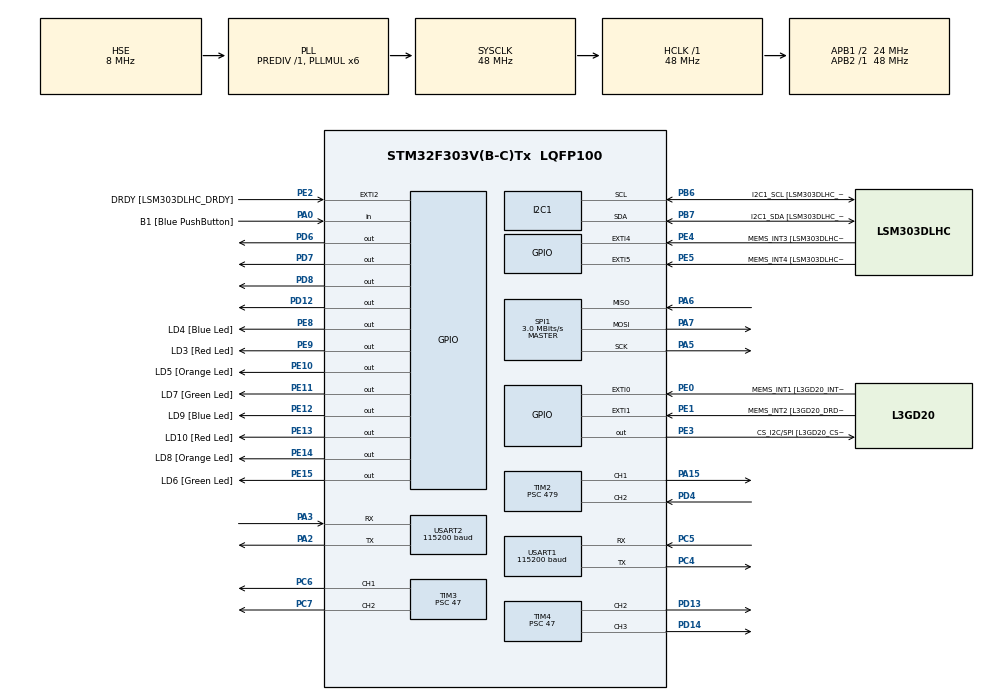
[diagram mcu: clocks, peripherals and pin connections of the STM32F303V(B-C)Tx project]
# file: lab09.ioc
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I2C1.Timing=0x00201D2B
I2C1.Timing-I2C=0x2000090E
Mcu.Family=STM32F3
Mcu.Name=STM32F303V(B-C)Tx
Mcu.Package=LQFP100
NVIC.PriorityGroup=NVIC_PRIORITYGROUP_0
NVIC.TIM2_IRQn=true\:0\:0\:false\:false\:true\:true\:true\:true
NVIC.TIM3_IRQn=true\:0\:0\:false\:false\:true\:true\:true\:true
NVIC.TIM4_IRQn=true\:0\:0\:false\:false\:true\:true\:true\:true
PA0.GPIO_Label=B1 [Blue PushButton]
PA0.Signal=GPIO_Input
PA11.GPIO_Label=DM
PA11.Signal=USB_DM
PA13.GPIO_Label=SWDIO
PA13.Mode=Serial_Wire
PA13.Signal=SYS_JTMS-SWDIO
PA14.GPIO_Label=SWCLK
PA14.Mode=Serial_Wire
PA14.Signal=SYS_JTCK-SWCLK
PA15.GPIO_PuPd=GPIO_NOPULL
PA15.Signal=S_TIM2_CH1_ETR
PA2.Mode=Asynchronous
PA2.Signal=USART2_TX
PA3.Mode=Asynchronous
PA3.Signal=USART2_RX
PA4.Signal=SPI1_NSS
PA5.Mode=Full_Duplex_Master
PA5.Signal=SPI1_SCK
PA6.Mode=Full_Duplex_Master
PA6.Signal=SPI1_MISO
PA7.Mode=Full_Duplex_Master
PA7.Signal=SPI1_MOSI
PB6.GPIO_Label=I2C1_SCL [LSM303DLHC_SCL]
PB6.GPIO_Pu=GPIO_PULLUP
PB6.Mode=I2C
PB6.Signal=I2C1_SCL
PB7.GPIO_Label=I2C1_SDA [LSM303DLHC_SDA]
PB7.GPIO_Pu=GPIO_PULLUP
PB7.Mode=I2C
PB7.Signal=I2C1_SDA
PC14-OSC32_IN.GPIO_Label=OSC32_IN
PC14-OSC32_IN.Signal=RCC_OSC32_IN
PC15-OSC32_OUT.GPIO_Label=OSC32_OUT
PC15-OSC32_OUT.Signal=RCC_OSC32_OUT
PC4.Mode=Asynchronous
PC4.Signal=USART1_TX
PC5.Mode=Asynchronous
PC5.Signal=USART1_RX
PC6.Signal=S_TIM3_CH1
PC7.Signal=S_TIM3_CH2
PD12.Signal=GPIO_Output
PD13.Signal=S_TIM4_CH2
PD14.Signal=S_TIM4_CH3
PD4.GPIO_PuPd=GPIO_PULLUP
PD4.Signal=S_TIM2_CH2
PD6.Signal=GPIO_Output
PD7.Signal=GPIO_Output
PD8.Signal=GPIO_Output
PE0.GPIO_Label=MEMS_INT1 [L3GD20_INT1]
PE0.GPIO_ModeDefaultEXTI=GPIO_MODE_EVT_RISING
PE0.Signal=GPXTI0
PE1.GPIO_Label=MEMS_INT2 [L3GD20_DRDY/INT2]
PE1.GPIO_ModeDefaultEXTI=GPIO_MODE_EVT_RISING
PE1.Signal=GPXTI1
PE10.GPIO_Label=LD5 [Orange Led]
PE10.Signal=GPIO_Output
PE11.GPIO_Label=LD7 [Green Led]
PE11.Signal=GPIO_Output
PE12.GPIO_Label=LD9 [Blue Led]
PE12.Signal=GPIO_Output
PE13.GPIO_Label=LD10 [Red Led]
PE13.Signal=GPIO_Output
PE14.GPIO_Label=LD8 [Orange Led]
PE14.Signal=GPIO_Output
PE15.GPIO_Label=LD6 [Green Led]
PE15.Signal=GPIO_Output
PE2.GPIO_Label=DRDY [LSM303DLHC_DRDY]
PE2.GPIO_ModeDefaultEXTI=GPIO_MODE_EVT_RISING
PE2.Signal=GPXTI2
PE3.GPIO_Label=CS_I2C/SPI [L3GD20_CS_I2C/SPI]
PE3.Signal=GPIO_Output
PE4.GPIO_Label=MEMS_INT3 [LSM303DLHC_INT1]
PE4.GPIO_ModeDefaultEXTI=GPIO_MODE_EVT_RISING
PE4.Signal=GPXTI4
PE5.GPIO_Label=MEMS_INT4 [LSM303DLHC_INT2]
PE5.GPIO_ModeDefaultEXTI=GPIO_MODE_EVT_RISING
PE5.Signal=GPXTI5
PE8.GPIO_Label=LD4 [Blue Led]
PE8.Signal=GPIO_Output
PE9.GPIO_Label=LD3 [Red Led]
PE9.Signal=GPIO_Output
PF0-OSC_IN.GPIO_Label=OSC_IN
PF0-OSC_IN.Mode=HSE-External-Clock-Source
PF0-OSC_IN.Signal=RCC_OSC_IN
PF1-OSC_OUT.GPIO_Label=OSC_OUT
PF1-OSC_OUT.Signal=RCC_OSC_OUT
ProjectManager.HeapSize=0x200
ProjectManager.StackSize=0x400
ProjectManager.TargetToolchain=CMake
RCC.AHBFreq_Value=48000000
RCC.APB1CLKDivider=RCC_HCLK_DIV2
RCC.APB1Freq_Value=24000000
RCC.APB1TimFreq_Value=48000000
RCC.APB2Freq_Value=48000000
RCC.APB2TimFreq_Value=48000000
RCC.CortexFreq_Value=48000000
RCC.HCLKFreq_Value=48000000
RCC.HSE_VALUE=8000000
RCC.HSI_VALUE=8000000
RCC.LSE_VALUE=32768
RCC.PLLMUL=RCC_PLL_MUL6
RCC.PLLSourceVirtual=RCC_PLLSOURCE_HSE
RCC.SYSCLKFreq_VALUE=48000000
RCC.SYSCLKSourceVirtual=RCC_SYSCLKSOURCE_PLLCLK
RCC.USBFreq_Value=48000000
SH.S_TIM2_CH1_ETR.0=TIM2_CH1,PWM Generation1 CH1
SH.S_TIM2_CH2.0=TIM2_CH2,Input_Capture2_from_TI2
SH.S_TIM3_CH1.0=TIM3_CH1,PWM Generation1 CH1
SH.S_TIM3_CH2.0=TIM3_CH2,PWM Generation2 CH2
SH.S_TIM4_CH2.0=TIM4_CH2,PWM Generation2 CH2
SH.S_TIM4_CH3.0=TIM4_CH3,PWM Generation3 CH3
SPI1.BaudRatePrescaler=SPI_BAUDRATEPRESCALER_16
SPI1.CLKPhase=SPI_PHASE_2EDGE
SPI1.CLKPolarity=SPI_POLARITY_HIGH
SPI1.CalculateBaudRate=3.0 MBits/s
SPI1.DataSize=SPI_DATASIZE_8BIT
SPI1.Direction=SPI_DIRECTION_2LINES
SPI1.Mode=SPI_MODE_MASTER
SPI1.VirtualType=VM_MASTER
TIM2.Channel-Input_Capture2_from_TI2=TIM_CHANNEL_2
TIM2.Channel-PWM\ Generation1\ CH1=TIM_CHANNEL_1
TIM2.Period=999
TIM2.Prescaler=479
TIM2.Pulse-PWM\ Generation1\ CH1=0
TIM3.Channel-PWM\ Generation1\ CH1=TIM_CHANNEL_1
TIM3.Channel-PWM\ Generation2\ CH2=TIM_CHANNEL_2
TIM3.Period=999
TIM3.Prescaler=47
TIM4.Channel-PWM\ Generation2\ CH2=TIM_CHANNEL_2
TIM4.Channel-PWM\ Generation3\ CH3=TIM_CHANNEL_3
TIM4.Period=9999
TIM4.Prescaler=47
TIM4.Pulse-PWM\ Generation2\ CH2=500
USART1.BaudRate=115200
USART1.VirtualMode-Asynchronous=VM_ASYNC
USART2.BaudRate=115200
USART2.VirtualMode-Asynchronous=VM_ASYNC
VP_TIM2_VS_ClockSourceINT.Mode=Internal
VP_TIM3_VS_ClockSourceINT.Mode=Internal
VP_TIM4_VS_ClockSourceINT.Mode=Internal
VP_TIM8_VS_ClockSourceINT.Mode=Internal
board=STM32F3DISCOVERY

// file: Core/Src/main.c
/* USER CODE BEGIN Header */
/**
  ******************************************************************************
  * @file           : main.c
  * @brief          : Main program body
  ******************************************************************************
  * @attention
  *
  * Copyright (c) 2026 STMicroelectronics.
  * All rights reserved.
  *
  * This software is licensed under terms that can be found in the LICENSE file
  * in the root directory of this software component.
  * If no LICENSE file comes with this software, it is provided AS-IS.
  *
  ******************************************************************************
  */
/* USER CODE END Header */
#include "main.h"

/* USER CODE BEGIN Includes */

#include "motor.h"
#include "stm32f3xx_hal_i2c.h"
#include "stm32f3xx_hal_tim.h"
#include "stm32f3xx_hal_uart.h"
#include <stdint.h>
#include <sys/types.h>
#include "stdarg.h"
#include "stdio.h"
#include "stm32f3xx_hal.h"
#include "stm32f3xx_hal_spi.h"
#include "string.h"
#include "math.h"
#include <stdint.h>
/* USER CODE END Includes */

I2C_HandleTypeDef hi2c1;

SPI_HandleTypeDef hspi1;

TIM_HandleTypeDef htim2;
TIM_HandleTypeDef htim3;
TIM_HandleTypeDef htim4;
TIM_HandleTypeDef htim8;

UART_HandleTypeDef huart1;
UART_HandleTypeDef huart2;

void SystemClock_Config(void);
static void MX_GPIO_Init(void);
static void MX_I2C1_Init(void);
static void MX_USART1_UART_Init(void);
static void MX_USART2_UART_Init(void);
static void MX_TIM2_Init(void);
static void MX_TIM3_Init(void);
static void MX_TIM4_Init(void);
static void MX_SPI1_Init(void);
static void MX_TIM8_Init(void);

/* USER CODE BEGIN 0 */

#include "angle.c"
#include "pid.c"
#include "motor.c"
void myPrintf(const char *fmt, ...);
 // Initialize and tune PID controller
  float dt = 0.01f;  // 10ms loop delay
  float setpoint = 0.3f;
  float tilt_x = 0.0f;

LSM_Data_t lsm = {0};  // zero-initialize all fields
PIDController pid;
//

/* USER CODE END 0 */

int main(void)
{

  /* MCU Configuration--------------------------------------------------------*/

  /* Reset of all peripherals, Initializes the Flash interface and the Systick. */
  HAL_Init();

  /* Configure the system clock */
  SystemClock_Config();

  /* Initialize all configured peripherals */
  MX_GPIO_Init();
  MX_I2C1_Init();
  MX_USART1_UART_Init();
  MX_USART2_UART_Init();
  MX_TIM2_Init();
  MX_TIM3_Init();
  MX_TIM4_Init();
  MX_SPI1_Init();
  MX_TIM8_Init();
  /* USER CODE BEGIN 2 */
  // Initialize sensors
  // HAL_TIM_PWM_Start(&htim4, TIM_CHANNEL_2);
  // HAL_TIM_PWM_Start(&htim4, TIM_CHANNEL_3);
  HAL_TIM_PWM_Start(&htim2, TIM_CHANNEL_1);

  Init_LSM();
  gyro_init();
  gyro_set_ctrl_reg4();

  // Calibrate sensors (robot must be stationary and upright)
  Offset_LSM(&lsm);
  gyro_calibrate(&lsm);

  // Start PWM channels for motors
  HAL_TIM_PWM_Start(&htim3, TIM_CHANNEL_1);
  HAL_TIM_PWM_Start(&htim3, TIM_CHANNEL_2);

  PIDController_Init(&pid);
  pid.kp = 75.0f;
  pid.ki = 0.002f;
  pid.kd = 4.0f;
  pid.sampling_time = dt;
  // HAL_NVIC_SetPriority(SysTick_IRQn, 0, 0);   // highest priority
  // HAL_NVIC_SetPriority(TIM4_IRQn, 1, 0);       // lower than SysTick
  // HAL_NVIC_SetPriority(USART2_IRQn, 2, 0);     // lowest - just debugging

  HAL_TIM_Base_Start_IT(&htim4);

  /* USER CODE END 2 */

  /* Infinite loop */
  /* USER CODE BEGIN WHILE */
  while (1)
  {
    // tilt_x = tilt_angle(dt, tilt_x, &lsm);
    // myPrintf("tilt angle: %f\r\n", tilt_x);
    // HAL_Delay(100);
    //HAL_UART_Transmit(&huart2, (const uint8_t *)"hello", 5, HAL_MAX_DELAY);
    // LeftMotor_Forward(999);
    // RightMotor_Forward(999);
    /* USER CODE END WHILE */

  }
}

/* USER CODE BEGIN 4 */
void myPrintf(const char *fmt, ...)
{
  char buffer[128];
  va_list argument;
  va_start(argument, fmt);
  vsnprintf(buffer, sizeof(buffer), fmt, argument);
  HAL_UART_Transmit(&huart2, (uint8_t*)buffer, strlen(buffer), 100);
}

void HAL_TIM_PeriodElapsedCallback(TIM_HandleTypeDef *htim)
{
    if (htim->Instance == TIM4)
    {
        tilt_x = tilt_angle(dt, tilt_x, &lsm);
        // Fall detection
        if (tilt_x > 15.0f || tilt_x < -15.0f)
        {
            LeftMotor_Stop();
            RightMotor_Stop();
            return;
        }

        PIDController_Update(&pid, setpoint, tilt_x);

        int speed = (int)pid.motor_output;
        float abs_error = fabsf(setpoint - tilt_x);

        if (speed >  999) speed =  999;
        if (speed < -999) speed = -999;

        // Stop dithering close to balance point.
        if (abs_error < 0.5f)
        {
          LeftMotor_Stop();
          RightMotor_Stop();
          return;
        }

        // Overcome motor static friction for faster initial response.
        if (speed > 0 && speed < 80) speed = 80;
        if (speed < 0 && speed > -80) speed = -80;

        // // Tight dead zone — only ignore if < 0.5° off setpoint
        // if (speed > -100 && speed < 100)
        // {
        //     LeftMotor_Stop();
        //     RightMotor_Stop();
        //     return;
        // }

        if (speed > 0)
        {
          LeftMotor_Forward((uint16_t)speed);
          RightMotor_Forward((uint16_t)speed);
        }
        else
        {
          speed = -speed;
          LeftMotor_Backward((uint16_t)speed);
          RightMotor_Backward((uint16_t)speed);
        }

        HAL_GPIO_TogglePin(GPIOC, GPIO_PIN_8);
    }
}
/* USER CODE END 4 */

void SystemClock_Config(void)
{
  RCC_OscInitTypeDef RCC_OscInitStruct = {0};
  RCC_ClkInitTypeDef RCC_ClkInitStruct = {0};
  RCC_PeriphCLKInitTypeDef PeriphClkInit = {0};

  /** Initializes the RCC Oscillators according to the specified parameters
  * in the RCC_OscInitTypeDef structure.
  */
  RCC_OscInitStruct.OscillatorType = RCC_OSCILLATORTYPE_HSI|RCC_OSCILLATORTYPE_HSE;
  RCC_OscInitStruct.HSEState = RCC_HSE_BYPASS;
  RCC_OscInitStruct.HSEPredivValue = RCC_HSE_PREDIV_DIV1;
  RCC_OscInitStruct.HSIState = RCC_HSI_ON;
  RCC_OscInitStruct.HSICalibrationValue = RCC_HSICALIBRATION_DEFAULT;
  RCC_OscInitStruct.PLL.PLLState = RCC_PLL_ON;
  RCC_OscInitStruct.PLL.PLLSource = RCC_PLLSOURCE_HSE;
  RCC_OscInitStruct.PLL.PLLMUL = RCC_PLL_MUL6;
  if (HAL_RCC_OscConfig(&RCC_OscInitStruct) != HAL_OK)
  {
    Error_Handler();
  }

  /** Initializes the CPU, AHB and APB buses clocks
  */
  RCC_ClkInitStruct.ClockType = RCC_CLOCKTYPE_HCLK|RCC_CLOCKTYPE_SYSCLK
                              |RCC_CLOCKTYPE_PCLK1|RCC_CLOCKTYPE_PCLK2;
  RCC_ClkInitStruct.SYSCLKSource = RCC_SYSCLKSOURCE_PLLCLK;
  RCC_ClkInitStruct.AHBCLKDivider = RCC_SYSCLK_DIV1;
  RCC_ClkInitStruct.APB1CLKDivider = RCC_HCLK_DIV2;
  RCC_ClkInitStruct.APB2CLKDivider = RCC_HCLK_DIV1;

  if (HAL_RCC_ClockConfig(&RCC_ClkInitStruct, FLASH_LATENCY_1) != HAL_OK)
  {
    Error_Handler();
  }
  PeriphClkInit.PeriphClockSelection = RCC_PERIPHCLK_USART1|RCC_PERIPHCLK_USART2
                              |RCC_PERIPHCLK_I2C1|RCC_PERIPHCLK_TIM8;
  PeriphClkInit.Usart1ClockSelection = RCC_USART1CLKSOURCE_PCLK2;
  PeriphClkInit.Usart2ClockSelection = RCC_USART2CLKSOURCE_PCLK1;
  PeriphClkInit.I2c1ClockSelection = RCC_I2C1CLKSOURCE_HSI;
  PeriphClkInit.Tim8ClockSelection = RCC_TIM8CLK_HCLK;
  if (HAL_RCCEx_PeriphCLKConfig(&PeriphClkInit) != HAL_OK)
  {
    Error_Handler();
  }
}

static void MX_I2C1_Init(void)
{

  hi2c1.Instance = I2C1;
  hi2c1.Init.Timing = 0x00201D2B;
  hi2c1.Init.OwnAddress1 = 0;
  hi2c1.Init.AddressingMode = I2C_ADDRESSINGMODE_7BIT;
  hi2c1.Init.DualAddressMode = I2C_DUALADDRESS_DISABLE;
  hi2c1.Init.OwnAddress2 = 0;
  hi2c1.Init.OwnAddress2Masks = I2C_OA2_NOMASK;
  hi2c1.Init.GeneralCallMode = I2C_GENERALCALL_DISABLE;
  hi2c1.Init.NoStretchMode = I2C_NOSTRETCH_DISABLE;
  if (HAL_I2C_Init(&hi2c1) != HAL_OK)
  {
    Error_Handler();
  }

  /** Configure Analogue filter
  */
  if (HAL_I2CEx_ConfigAnalogFilter(&hi2c1, I2C_ANALOGFILTER_ENABLE) != HAL_OK)
  {
    Error_Handler();
  }

  /** Configure Digital filter
  */
  if (HAL_I2CEx_ConfigDigitalFilter(&hi2c1, 0) != HAL_OK)
  {
    Error_Handler();
  }

}

static void MX_SPI1_Init(void)
{

  /* SPI1 parameter configuration*/
  hspi1.Instance = SPI1;
  hspi1.Init.Mode = SPI_MODE_MASTER;
  hspi1.Init.Direction = SPI_DIRECTION_2LINES;
  hspi1.Init.DataSize = SPI_DATASIZE_8BIT;
  hspi1.Init.CLKPolarity = SPI_POLARITY_HIGH;
  hspi1.Init.CLKPhase = SPI_PHASE_2EDGE;
  hspi1.Init.NSS = SPI_NSS_SOFT;
  hspi1.Init.BaudRatePrescaler = SPI_BAUDRATEPRESCALER_16;
  hspi1.Init.FirstBit = SPI_FIRSTBIT_MSB;
  hspi1.Init.TIMode = SPI_TIMODE_DISABLE;
  hspi1.Init.CRCCalculation = SPI_CRCCALCULATION_DISABLE;
  hspi1.Init.CRCPolynomial = 7;
  hspi1.Init.CRCLength = SPI_CRC_LENGTH_DATASIZE;
  hspi1.Init.NSSPMode = SPI_NSS_PULSE_DISABLE;
  if (HAL_SPI_Init(&hspi1) != HAL_OK)
  {
    Error_Handler();
  }

}

static void MX_TIM2_Init(void)
{

  TIM_ClockConfigTypeDef sClockSourceConfig = {0};
  TIM_MasterConfigTypeDef sMasterConfig = {0};
  TIM_OC_InitTypeDef sConfigOC = {0};
  TIM_IC_InitTypeDef sConfigIC = {0};

  htim2.Instance = TIM2;
  htim2.Init.Prescaler = 479;
  htim2.Init.CounterMode = TIM_COUNTERMODE_UP;
  htim2.Init.Period = 999;
  htim2.Init.ClockDivision = TIM_CLOCKDIVISION_DIV1;
  htim2.Init.AutoReloadPreload = TIM_AUTORELOAD_PRELOAD_DISABLE;
  if (HAL_TIM_Base_Init(&htim2) != HAL_OK)
  {
    Error_Handler();
  }
  sClockSourceConfig.ClockSource = TIM_CLOCKSOURCE_INTERNAL;
  if (HAL_TIM_ConfigClockSource(&htim2, &sClockSourceConfig) != HAL_OK)
  {
    Error_Handler();
  }
  if (HAL_TIM_PWM_Init(&htim2) != HAL_OK)
  {
    Error_Handler();
  }
  if (HAL_TIM_IC_Init(&htim2) != HAL_OK)
  {
    Error_Handler();
  }
  sMasterConfig.MasterOutputTrigger = TIM_TRGO_RESET;
  sMasterConfig.MasterSlaveMode = TIM_MASTERSLAVEMODE_DISABLE;
  if (HAL_TIMEx_MasterConfigSynchronization(&htim2, &sMasterConfig) != HAL_OK)
  {
    Error_Handler();
  }
  sConfigOC.OCMode = TIM_OCMODE_PWM1;
  sConfigOC.Pulse = 0;
  sConfigOC.OCPolarity = TIM_OCPOLARITY_HIGH;
  sConfigOC.OCFastMode = TIM_OCFAST_DISABLE;
  if (HAL_TIM_PWM_ConfigChannel(&htim2, &sConfigOC, TIM_CHANNEL_1) != HAL_OK)
  {
    Error_Handler();
  }
  sConfigIC.ICPolarity = TIM_INPUTCHANNELPOLARITY_RISING;
  sConfigIC.ICSelection = TIM_ICSELECTION_DIRECTTI;
  sConfigIC.ICPrescaler = TIM_ICPSC_DIV1;
  sConfigIC.ICFilter = 0;
  if (HAL_TIM_IC_ConfigChannel(&htim2, &sConfigIC, TIM_CHANNEL_2) != HAL_OK)
  {
    Error_Handler();
  }
  HAL_TIM_MspPostInit(&htim2);

}

static void MX_TIM3_Init(void)
{

  TIM_ClockConfigTypeDef sClockSourceConfig = {0};
  TIM_MasterConfigTypeDef sMasterConfig = {0};
  TIM_OC_InitTypeDef sConfigOC = {0};

  htim3.Instance = TIM3;
  htim3.Init.Prescaler = 47;
  htim3.Init.CounterMode = TIM_COUNTERMODE_UP;
  htim3.Init.Period = 999;
  htim3.Init.ClockDivision = TIM_CLOCKDIVISION_DIV1;
  htim3.Init.AutoReloadPreload = TIM_AUTORELOAD_PRELOAD_DISABLE;
  if (HAL_TIM_Base_Init(&htim3) != HAL_OK)
  {
    Error_Handler();
  }
  sClockSourceConfig.ClockSource = TIM_CLOCKSOURCE_INTERNAL;
  if (HAL_TIM_ConfigClockSource(&htim3, &sClockSourceConfig) != HAL_OK)
  {
    Error_Handler();
  }
  if (HAL_TIM_PWM_Init(&htim3) != HAL_OK)
  {
    Error_Handler();
  }
  sMasterConfig.MasterOutputTrigger = TIM_TRGO_RESET;
  sMasterConfig.MasterSlaveMode = TIM_MASTERSLAVEMODE_DISABLE;
  if (HAL_TIMEx_MasterConfigSynchronization(&htim3, &sMasterConfig) != HAL_OK)
  {
    Error_Handler();
  }
  sConfigOC.OCMode = TIM_OCMODE_PWM1;
  sConfigOC.Pulse = 0;
  sConfigOC.OCPolarity = TIM_OCPOLARITY_HIGH;
  sConfigOC.OCFastMode = TIM_OCFAST_DISABLE;
  if (HAL_TIM_PWM_ConfigChannel(&htim3, &sConfigOC, TIM_CHANNEL_1) != HAL_OK)
  {
    Error_Handler();
  }
  if (HAL_TIM_PWM_ConfigChannel(&htim3, &sConfigOC, TIM_CHANNEL_2) != HAL_OK)
  {
    Error_Handler();
  }
  HAL_TIM_MspPostInit(&htim3);

}

static void MX_TIM4_Init(void)
{

  TIM_ClockConfigTypeDef sClockSourceConfig = {0};
  TIM_MasterConfigTypeDef sMasterConfig = {0};
  TIM_OC_InitTypeDef sConfigOC = {0};

  htim4.Instance = TIM4;
  htim4.Init.Prescaler = 47;
  htim4.Init.CounterMode = TIM_COUNTERMODE_UP;
  htim4.Init.Period = 9999;
  htim4.Init.ClockDivision = TIM_CLOCKDIVISION_DIV1;
  htim4.Init.AutoReloadPreload = TIM_AUTORELOAD_PRELOAD_DISABLE;
  if (HAL_TIM_Base_Init(&htim4) != HAL_OK)
  {
    Error_Handler();
  }
  sClockSourceConfig.ClockSource = TIM_CLOCKSOURCE_INTERNAL;
  if (HAL_TIM_ConfigClockSource(&htim4, &sClockSourceConfig) != HAL_OK)
  {
    Error_Handler();
  }
  if (HAL_TIM_PWM_Init(&htim4) != HAL_OK)
  {
    Error_Handler();
  }
  sMasterConfig.MasterOutputTrigger = TIM_TRGO_RESET;
  sMasterConfig.MasterSlaveMode = TIM_MASTERSLAVEMODE_DISABLE;
  if (HAL_TIMEx_MasterConfigSynchronization(&htim4, &sMasterConfig) != HAL_OK)
  {
    Error_Handler();
  }
  sConfigOC.OCMode = TIM_OCMODE_PWM1;
  sConfigOC.Pulse = 500;
  sConfigOC.OCPolarity = TIM_OCPOLARITY_HIGH;
  sConfigOC.OCFastMode = TIM_OCFAST_DISABLE;
  if (HAL_TIM_PWM_ConfigChannel(&htim4, &sConfigOC, TIM_CHANNEL_2) != HAL_OK)
  {
    Error_Handler();
  }
  sConfigOC.Pulse = 0;
  if (HAL_TIM_PWM_ConfigChannel(&htim4, &sConfigOC, TIM_CHANNEL_3) != HAL_OK)
  {
    Error_Handler();
  }
  HAL_TIM_MspPostInit(&htim4);

}

static void MX_TIM8_Init(void)
{

  TIM_ClockConfigTypeDef sClockSourceConfig = {0};
  TIM_MasterConfigTypeDef sMasterConfig = {0};

  htim8.Instance = TIM8;
  htim8.Init.Prescaler = 0;
  htim8.Init.CounterMode = TIM_COUNTERMODE_UP;
  htim8.Init.Period = 65535;
  htim8.Init.ClockDivision = TIM_CLOCKDIVISION_DIV1;
  htim8.Init.RepetitionCounter = 0;
  htim8.Init.AutoReloadPreload = TIM_AUTORELOAD_PRELOAD_DISABLE;
  if (HAL_TIM_Base_Init(&htim8) != HAL_OK)
  {
    Error_Handler();
  }
  sClockSourceConfig.ClockSource = TIM_CLOCKSOURCE_INTERNAL;
  if (HAL_TIM_ConfigClockSource(&htim8, &sClockSourceConfig) != HAL_OK)
  {
    Error_Handler();
  }
  sMasterConfig.MasterOutputTrigger = TIM_TRGO_RESET;
  sMasterConfig.MasterOutputTrigger2 = TIM_TRGO2_RESET;
  sMasterConfig.MasterSlaveMode = TIM_MASTERSLAVEMODE_DISABLE;
  if (HAL_TIMEx_MasterConfigSynchronization(&htim8, &sMasterConfig) != HAL_OK)
  {
    Error_Handler();
  }

}

static void MX_USART1_UART_Init(void)
{

  huart1.Instance = USART1;
  huart1.Init.BaudRate = 115200;
  huart1.Init.WordLength = UART_WORDLENGTH_8B;
  huart1.Init.StopBits = UART_STOPBITS_1;
  huart1.Init.Parity = UART_PARITY_NONE;
  huart1.Init.Mode = UART_MODE_TX_RX;
  huart1.Init.HwFlowCtl = UART_HWCONTROL_NONE;
  huart1.Init.OverSampling = UART_OVERSAMPLING_16;
  huart1.Init.OneBitSampling = UART_ONE_BIT_SAMPLE_DISABLE;
  huart1.AdvancedInit.AdvFeatureInit = UART_ADVFEATURE_NO_INIT;
  if (HAL_UART_Init(&huart1) != HAL_OK)
  {
    Error_Handler();
  }

}

static void MX_USART2_UART_Init(void)
{

  huart2.Instance = USART2;
  huart2.Init.BaudRate = 115200;
  huart2.Init.WordLength = UART_WORDLENGTH_8B;
  huart2.Init.StopBits = UART_STOPBITS_1;
  huart2.Init.Parity = UART_PARITY_NONE;
  huart2.Init.Mode = UART_MODE_TX_RX;
  huart2.Init.HwFlowCtl = UART_HWCONTROL_NONE;
  huart2.Init.OverSampling = UART_OVERSAMPLING_16;
  huart2.Init.OneBitSampling = UART_ONE_BIT_SAMPLE_DISABLE;
  huart2.AdvancedInit.AdvFeatureInit = UART_ADVFEATURE_NO_INIT;
  if (HAL_UART_Init(&huart2) != HAL_OK)
  {
    Error_Handler();
  }

}

static void MX_GPIO_Init(void)
{
  GPIO_InitTypeDef GPIO_InitStruct = {0};

  /* GPIO Ports Clock Enable */
  __HAL_RCC_GPIOE_CLK_ENABLE();
  __HAL_RCC_GPIOC_CLK_ENABLE();
  __HAL_RCC_GPIOF_CLK_ENABLE();
  __HAL_RCC_GPIOA_CLK_ENABLE();
  __HAL_RCC_GPIOD_CLK_ENABLE();
  __HAL_RCC_GPIOB_CLK_ENABLE();

  /*Configure GPIO pin Output Level */
  HAL_GPIO_WritePin(GPIOE, CS_I2C_SPI_Pin|LD4_Pin|LD3_Pin|LD5_Pin
                          |LD7_Pin|LD9_Pin|LD10_Pin|LD8_Pin
                          |LD6_Pin, GPIO_PIN_RESET);

  /*Configure GPIO pin Output Level */
  HAL_GPIO_WritePin(GPIOD, GPIO_PIN_8|GPIO_PIN_12|GPIO_PIN_6|GPIO_PIN_7, GPIO_PIN_RESET);

  /*Configure GPIO pins : DRDY_Pin MEMS_INT3_Pin MEMS_INT4_Pin MEMS_INT1_Pin
                           MEMS_INT2_Pin */
  GPIO_InitStruct.Pin = DRDY_Pin|MEMS_INT3_Pin|MEMS_INT4_Pin|MEMS_INT1_Pin
                          |MEMS_INT2_Pin;
  GPIO_InitStruct.Mode = GPIO_MODE_EVT_RISING;
  GPIO_InitStruct.Pull = GPIO_NOPULL;
  HAL_GPIO_Init(GPIOE, &GPIO_InitStruct);

  /*Configure GPIO pins : CS_I2C_SPI_Pin LD4_Pin LD3_Pin LD5_Pin
                           LD7_Pin LD9_Pin LD10_Pin LD8_Pin
                           LD6_Pin */
  GPIO_InitStruct.Pin = CS_I2C_SPI_Pin|LD4_Pin|LD3_Pin|LD5_Pin
                          |LD7_Pin|LD9_Pin|LD10_Pin|LD8_Pin
                          |LD6_Pin;
  GPIO_InitStruct.Mode = GPIO_MODE_OUTPUT_PP;
  GPIO_InitStruct.Pull = GPIO_NOPULL;
  GPIO_InitStruct.Speed = GPIO_SPEED_FREQ_LOW;
  HAL_GPIO_Init(GPIOE, &GPIO_InitStruct);

  /*Configure GPIO pin : B1_Pin */
  GPIO_InitStruct.Pin = B1_Pin;
  GPIO_InitStruct.Mode = GPIO_MODE_INPUT;
  GPIO_InitStruct.Pull = GPIO_NOPULL;
  HAL_GPIO_Init(B1_GPIO_Port, &GPIO_InitStruct);

  /*Configure GPIO pins : PD8 PD12 PD6 PD7 */
  GPIO_InitStruct.Pin = GPIO_PIN_8|GPIO_PIN_12|GPIO_PIN_6|GPIO_PIN_7;
  GPIO_InitStruct.Mode = GPIO_MODE_OUTPUT_PP;
  GPIO_InitStruct.Pull = GPIO_NOPULL;
  GPIO_InitStruct.Speed = GPIO_SPEED_FREQ_LOW;
  HAL_GPIO_Init(GPIOD, &GPIO_InitStruct);

  /*Configure GPIO pin : DM_Pin */
  GPIO_InitStruct.Pin = DM_Pin;
  GPIO_InitStruct.Mode = GPIO_MODE_AF_PP;
  GPIO_InitStruct.Pull = GPIO_NOPULL;
  GPIO_InitStruct.Speed = GPIO_SPEED_FREQ_HIGH;
  GPIO_InitStruct.Alternate = GPIO_AF14_USB;
  HAL_GPIO_Init(DM_GPIO_Port, &GPIO_InitStruct);

}

void Error_Handler(void)
{
  __disable_irq();
  while (1)
  {
  }
}
